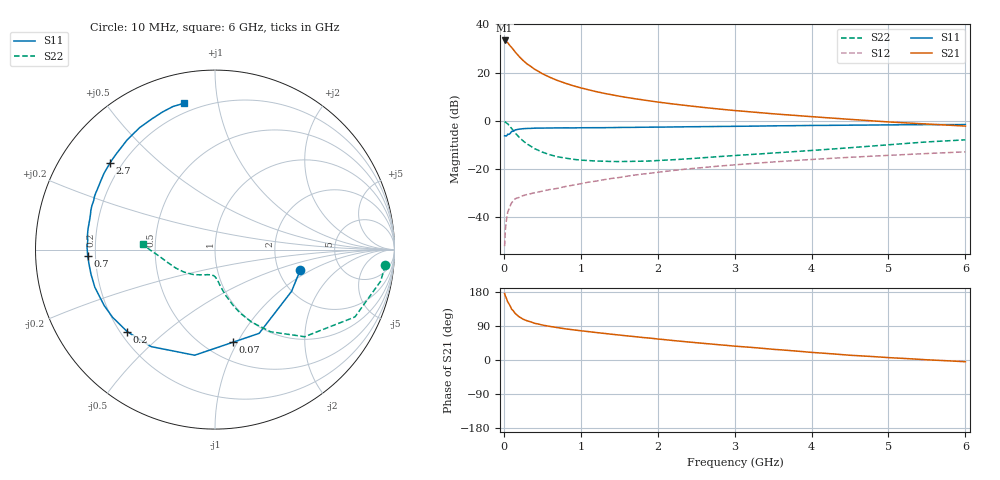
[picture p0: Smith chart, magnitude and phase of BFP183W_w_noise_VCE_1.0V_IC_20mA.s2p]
! Infineon Technologies  Discrete & RF Semiconductors
! BFP183W
! VCE =  1.0 V,  IC =  20 mA
! Common Emitter S-Parameters:  Jan 2017
# GHz  S  MA  R  50
!  f  S11  S21  S12  S22
! GHz  MAG  ANG  MAG  ANG  MAG  ANG  MAG  ANG
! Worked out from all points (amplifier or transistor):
!   77 points, 10 MHz to 6 GHz, reference 50 ohm
!   highest |S21| = 33.3 dB at 10 MHz (marker M1)
!   |S21| within 3 dB of that: start of sweep to 103.7 MHz
!   unconditionally stable (mu >= 1): 864.9 MHz to 4.881 GHz
!   at 130 MHz: K = 0.27, MSG = 31.1 dB, |S12| = -33.0 dB
!   at 2.2 GHz: K = 1.13, MAG = 11.6 dB, |S12| = -20.6 dB
!   at 6 GHz: K = 0.94, MSG = 5.3 dB, |S12| = -12.9 dB
!   lowest NFmin = 1.17 dB at 450 MHz
!   S11 on the Smith chart (normalised r, x): 10 MHz: 2.64, -0.79; 70 MHz: 0.68, -0.96; 200 MHz: 0.23, -0.38; 700 MHz: 0.17, -0.02; 2.7 GHz: 0.16, +0.35; 6 GHz: 0.15, +0.80
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0.01  0.4886 -13.4  46.28 175.3  0.0025 83.7  0.9531 -5.3
0.02  0.4859 -28.5  45.37 169.0  0.0055 77.8  0.9393 -10.8
0.05  0.5274 -62.2  41.62 153.7  0.0126 67.4  0.8653 -25.7
0.07  0.5254 -78.8  37.82 147.1  0.0153 60.8  0.7883 -32.1
0.1  0.5993 -100.9  33.33 134.6  0.0197 54.4  0.6964 -44.2
0.15  0.6468 -123.3  26.4 122.3  0.0242 45.6  0.5529 -55.9
0.2  0.6694 -136.9  21.38 113.9  0.0257 40.8  0.453 -63.2
0.25  0.6839 -146.5  17.82 107.8  0.0279 39.8  0.3821 -68.2
0.3  0.6916 -153.2  15.16 103.5  0.0294 39.1  0.3304 -71.8
0.4  0.7016 -162.6  11.71 96.9  0.0321 41.4  0.2634 -76.7
0.5  0.7044 -168.8  9.458 92.3  0.0346 42.8  0.2235 -79.9
0.6  0.7068 -173.6  7.94 88.6  0.0375 45.1  0.1968 -82.5
0.7  0.7102 -177.3  6.821 85.4  0.0396 47.3  0.1785 -84.3
0.9  0.7109 175.9  5.322 79.7  0.0461 50.6  0.1587 -87.9
1.1  0.7166 171.1  4.383 74.9  0.0532 53.1  0.1494 -91.0
1.5  0.7253 162.5  3.229 65.9  0.0664 55.2  0.1424 -98.4
2.1  0.7394 150.7  2.334 53.5  0.089 55.7  0.1522 -112.6
2.7  0.7576 140.6  1.815 42.1  0.111 53.9  0.1758 -127.2
3.1  0.7684 134.5  1.58 35.1  0.1251 51.8  0.1941 -136.3
4.1  0.8 120.5  1.185 18.7  0.1606 46.3  0.2479 -157.2
5.1  0.8222 110.0  0.926 5.2  0.1947 40.0  0.3259 -175.2
6  0.8332 102.0  0.774 -4.6  0.2263 33.8  0.4011 175.8
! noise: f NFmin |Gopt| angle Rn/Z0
0.45  1.17  0.2  171  0.1
0.9  1.2  0.25  174  0.09
1.9  1.68  0.41  -163  0.08
2.4  1.92  0.45  -157  0.12
